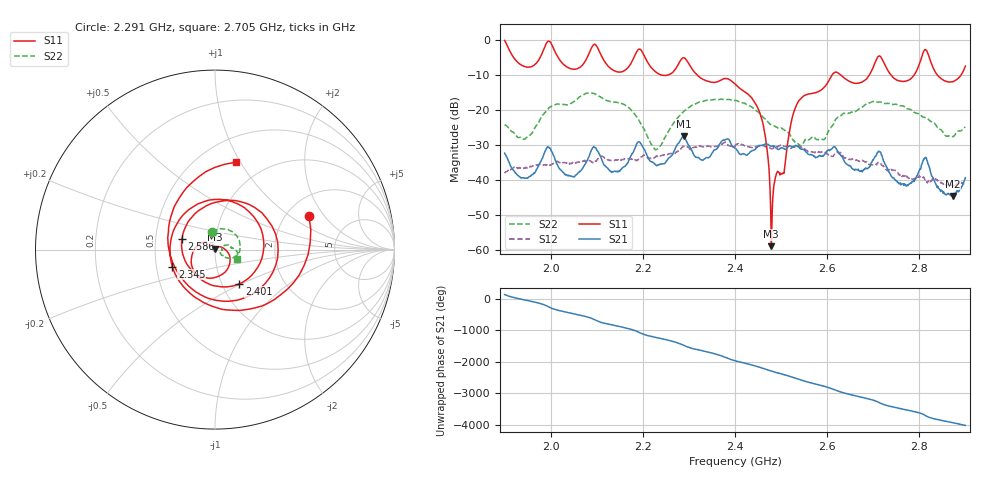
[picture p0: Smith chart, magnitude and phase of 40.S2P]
! C:\Users\rflab\Downloads\Lab5_KD_ZW\40.S2P
! Touchstone 1.1 file saved by VNA.EXE V1.65 (www.ke5fx.com/gpib/readme.htm)
! 11/11/2024 11:38:46 PM
!  Source: HEWLETT PACKARD,8753D,0,6.14
!  Min freq: 1.900000E+009 Hz
!  Max freq: 2.900000E+009 Hz
!  Points: 801
!  Params: S11 S21 S12 S22
# GHZ S RI R 50
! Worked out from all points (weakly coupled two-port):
!   801 points, 1.9 GHz to 2.9 GHz, reference 50 ohm
!   highest |S21| = -27.45 dB at 2.289 GHz (marker M1); lowest = -44.4 dB at 2.873 GHz (marker M2)
!   lowest |S11| = -58.8 dB at 2.479 GHz (marker M3), VSWR 1.00, Z = 50.1 + j0.084 ohm
!   |S11| at or under -10 dB: 2.319 GHz to 2.61 GHz (291.6 MHz wide, 11.8 % of centre); 2.63 GHz to 2.691 GHz (60.94 MHz wide, 2.29 % of centre); 2.84 GHz to 2.89 GHz (50.25 MHz wide, 1.75 % of centre) (the widest 3 of 5)
!   |S22| runs from -31.2 to -15.0 dB; largest |S21 - S12| = 0.016
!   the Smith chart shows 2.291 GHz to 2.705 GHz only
!   S11 on the Smith chart (normalised r, x): 2.291 GHz: 2.64, +1.42; 2.345 GHz: 0.61, -0.12; 2.401 GHz: 1.21, -0.49; 2.586 GHz: 0.69, +0.09; 2.705 GHz: 0.73, +0.96
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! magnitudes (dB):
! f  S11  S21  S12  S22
! 1.9 GHz  0.0  -32.2  -37.6  -24.1
! 1.944 GHz  -7.5  -39.5  -36.5  -28.2
! 1.995 GHz  -0.2  -30.5  -35.9  -19.5
! 2.067 GHz  -7.2  -36.9  -34.7  -15.8
! 2.191 GHz  -2.5  -29.0  -33.8  -22.8
! 2.234 GHz  -9.5  -35.6  -33.1  -30.8
! 2.289 GHz  -5.0  -27.4  -30.4  -20.3
! 2.291 GHz  -5.1  -27.8  -30.6  -20.0
! 2.345 GHz  -11.8  -33.3  -30.3  -17.1
! 2.4 GHz  -12.5  -30.8  -30.3  -17.2
! 2.401 GHz  -12.6  -30.9  -29.9  -17.2
! 2.456 GHz  -21.7  -30.0  -30.0  -21.3
! 2.479 GHz  -58.8  -30.2  -31.0  -24.1
! 2.531 GHz  -19.2  -30.0  -30.5  -29.1
! 2.567 GHz  -15.2  -32.7  -31.9  -27.7
! 2.586 GHz  -14.3  -33.1  -32.1  -28.2
! 2.705 GHz  -6.0  -33.1  -35.6  -17.5
! 2.734 GHz  -9.1  -37.6  -37.0  -18.0
! 2.776 GHz  -11.4  -41.2  -39.4  -19.6
! 2.814 GHz  -2.7  -33.4  -40.3  -22.0
! 2.873 GHz  -11.8  -44.4  -41.4  -27.5
! 2.9 GHz  -7.4  -39.3  -41.0  -24.8
